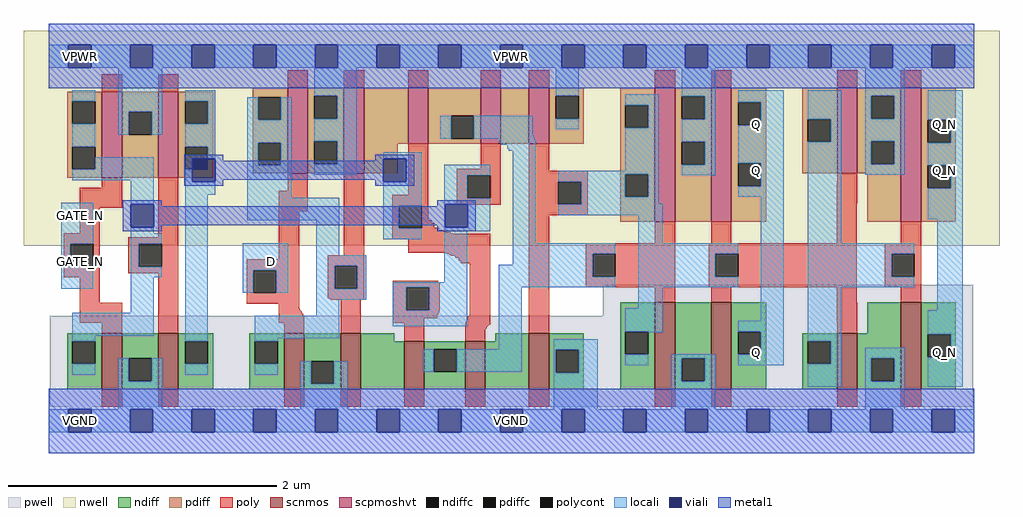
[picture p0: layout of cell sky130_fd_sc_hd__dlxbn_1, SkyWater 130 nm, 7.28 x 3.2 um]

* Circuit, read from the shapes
.subckt sky130_fd_sc_hd__dlxbn_1 D GATE_N VGND VNB VPB VPWR Q Q_N
XM1 VGND GATE_N n1 VNB sky130_fd_pr__nfet_01v8 w=0.42 l=0.15
XM2 n2 n1 VGND VNB sky130_fd_pr__nfet_01v8 w=0.42 l=0.15
XM3 VGND D n3 VNB sky130_fd_pr__nfet_01v8 w=0.42 l=0.15
XM4 n4 n3 VGND VNB sky130_fd_pr__nfet_01v8 w=0.42 l=0.15
XM5 n5 n1 n4 VNB sky130_fd_pr__nfet_01v8 w=0.36 l=0.15
XM6 n6 n2 n5 VNB sky130_fd_pr__nfet_01v8 w=0.36 l=0.15
XM7 VGND n7 n6 VNB sky130_fd_pr__nfet_01v8 w=0.42 l=0.15
XM8 VGND n5 n7 VNB sky130_fd_pr__nfet_01v8 w=0.65 l=0.15
XM9 Q n7 VGND VNB sky130_fd_pr__nfet_01v8 w=0.65 l=0.15
XM10 VGND n7 n8 VNB sky130_fd_pr__nfet_01v8 w=0.42 l=0.15
XM11 Q_N n8 VGND VNB sky130_fd_pr__nfet_01v8 w=0.65 l=0.15
XM12 VPWR GATE_N n1 VPB sky130_fd_pr__pfet_01v8_hvt w=0.64 l=0.15
XM13 n2 n1 VPWR VPB sky130_fd_pr__pfet_01v8_hvt w=0.64 l=0.15
XM14 VPWR D n3 VPB sky130_fd_pr__pfet_01v8_hvt w=0.64 l=0.15
XM15 n9 n3 VPWR VPB sky130_fd_pr__pfet_01v8_hvt w=0.64 l=0.15
XM16 n5 n2 n9 VPB sky130_fd_pr__pfet_01v8_hvt w=0.42 l=0.15
XM17 n10 n1 n5 VPB sky130_fd_pr__pfet_01v8_hvt w=0.42 l=0.15
XM18 VPWR n7 n10 VPB sky130_fd_pr__pfet_01v8_hvt w=0.42 l=0.15
XM19 VPWR n5 n7 VPB sky130_fd_pr__pfet_01v8_hvt w=1 l=0.15
XM20 Q n7 VPWR VPB sky130_fd_pr__pfet_01v8_hvt w=1 l=0.15
XM21 VPWR n7 n8 VPB sky130_fd_pr__pfet_01v8_hvt w=0.64 l=0.15
XM22 Q_N n8 VPWR VPB sky130_fd_pr__pfet_01v8_hvt w=1 l=0.15
.ends

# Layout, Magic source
magic
tech sky130B
magscale 1 2
<< nwell >>
rect -38 261 1418 582
<< pwell >>
rect 826 157 1379 203
rect 1 21 1379 157
rect 30 -17 64 21
<< scnmos >>
rect 79 47 109 131
rect 163 47 193 131
rect 351 47 381 131
rect 435 47 465 131
rect 530 47 560 119
rect 621 47 651 119
rect 716 47 746 131
rect 904 47 934 177
rect 988 47 1018 177
rect 1176 47 1206 131
rect 1271 47 1301 177
<< scpmoshvt >>
rect 79 363 109 491
rect 163 363 193 491
rect 356 369 386 497
rect 440 369 470 497
rect 536 413 566 497
rect 644 413 674 497
rect 716 413 746 497
rect 904 297 934 497
rect 988 297 1018 497
rect 1176 369 1206 497
rect 1271 297 1301 497
<< ndiff >>
rect 27 119 79 131
rect 27 85 35 119
rect 69 85 79 119
rect 27 47 79 85
rect 109 93 163 131
rect 109 59 119 93
rect 153 59 163 93
rect 109 47 163 59
rect 193 119 245 131
rect 193 85 203 119
rect 237 85 245 119
rect 193 47 245 85
rect 299 119 351 131
rect 299 85 307 119
rect 341 85 351 119
rect 299 47 351 85
rect 381 89 435 131
rect 381 55 391 89
rect 425 55 435 89
rect 381 47 435 55
rect 465 119 515 131
rect 852 133 904 177
rect 666 119 716 131
rect 465 47 530 119
rect 560 107 621 119
rect 560 73 574 107
rect 608 73 621 107
rect 560 47 621 73
rect 651 47 716 119
rect 746 106 798 131
rect 746 72 756 106
rect 790 72 798 106
rect 746 47 798 72
rect 852 99 860 133
rect 894 99 904 133
rect 852 47 904 99
rect 934 93 988 177
rect 934 59 944 93
rect 978 59 988 93
rect 934 47 988 59
rect 1018 133 1070 177
rect 1018 99 1028 133
rect 1062 99 1070 133
rect 1221 131 1271 177
rect 1018 47 1070 99
rect 1124 119 1176 131
rect 1124 85 1132 119
rect 1166 85 1176 119
rect 1124 47 1176 85
rect 1206 93 1271 131
rect 1206 59 1227 93
rect 1261 59 1271 93
rect 1206 47 1271 59
rect 1301 129 1353 177
rect 1301 95 1311 129
rect 1345 95 1353 129
rect 1301 47 1353 95
<< pdiff >>
rect 27 477 79 491
rect 27 443 35 477
rect 69 443 79 477
rect 27 409 79 443
rect 27 375 35 409
rect 69 375 79 409
rect 27 363 79 375
rect 109 461 163 491
rect 109 427 119 461
rect 153 427 163 461
rect 109 363 163 427
rect 193 477 245 491
rect 193 443 203 477
rect 237 443 245 477
rect 193 409 245 443
rect 193 375 203 409
rect 237 375 245 409
rect 193 363 245 375
rect 304 483 356 497
rect 304 449 312 483
rect 346 449 356 483
rect 304 415 356 449
rect 304 381 312 415
rect 346 381 356 415
rect 304 369 356 381
rect 386 485 440 497
rect 386 451 396 485
rect 430 451 440 485
rect 386 417 440 451
rect 386 383 396 417
rect 430 383 440 417
rect 386 369 440 383
rect 470 413 536 497
rect 566 455 644 497
rect 566 421 600 455
rect 634 421 644 455
rect 566 413 644 421
rect 674 413 716 497
rect 746 485 798 497
rect 746 451 756 485
rect 790 451 798 485
rect 746 413 798 451
rect 852 471 904 497
rect 852 437 860 471
rect 894 437 904 471
rect 470 369 520 413
rect 852 368 904 437
rect 852 334 860 368
rect 894 334 904 368
rect 852 297 904 334
rect 934 484 988 497
rect 934 450 944 484
rect 978 450 988 484
rect 934 416 988 450
rect 934 382 944 416
rect 978 382 988 416
rect 934 297 988 382
rect 1018 475 1070 497
rect 1018 441 1028 475
rect 1062 441 1070 475
rect 1018 384 1070 441
rect 1018 350 1028 384
rect 1062 350 1070 384
rect 1124 450 1176 497
rect 1124 416 1132 450
rect 1166 416 1176 450
rect 1124 369 1176 416
rect 1206 485 1271 497
rect 1206 451 1227 485
rect 1261 451 1271 485
rect 1206 417 1271 451
rect 1206 383 1227 417
rect 1261 383 1271 417
rect 1206 369 1271 383
rect 1018 297 1070 350
rect 1221 297 1271 369
rect 1301 449 1353 497
rect 1301 415 1311 449
rect 1345 415 1353 449
rect 1301 381 1353 415
rect 1301 347 1311 381
rect 1345 347 1353 381
rect 1301 297 1353 347
<< ndiffc >>
rect 35 85 69 119
rect 119 59 153 93
rect 203 85 237 119
rect 307 85 341 119
rect 391 55 425 89
rect 574 73 608 107
rect 756 72 790 106
rect 860 99 894 133
rect 944 59 978 93
rect 1028 99 1062 133
rect 1132 85 1166 119
rect 1227 59 1261 93
rect 1311 95 1345 129
<< pdiffc >>
rect 35 443 69 477
rect 35 375 69 409
rect 119 427 153 461
rect 203 443 237 477
rect 203 375 237 409
rect 312 449 346 483
rect 312 381 346 415
rect 396 451 430 485
rect 396 383 430 417
rect 600 421 634 455
rect 756 451 790 485
rect 860 437 894 471
rect 860 334 894 368
rect 944 450 978 484
rect 944 382 978 416
rect 1028 441 1062 475
rect 1028 350 1062 384
rect 1132 416 1166 450
rect 1227 451 1261 485
rect 1227 383 1261 417
rect 1311 415 1345 449
rect 1311 347 1345 381
<< poly >>
rect 79 491 109 517
rect 163 491 193 517
rect 356 497 386 523
rect 440 497 470 523
rect 536 497 566 523
rect 644 497 674 523
rect 716 497 746 523
rect 904 497 934 523
rect 988 497 1018 523
rect 1176 497 1206 523
rect 1271 497 1301 523
rect 79 348 109 363
rect 46 318 109 348
rect 46 280 76 318
rect 22 264 76 280
rect 163 274 193 363
rect 356 343 386 369
rect 22 230 32 264
rect 66 230 76 264
rect 22 214 76 230
rect 118 264 193 274
rect 118 230 134 264
rect 168 230 193 264
rect 343 313 386 343
rect 343 241 373 313
rect 440 247 470 369
rect 536 337 566 413
rect 644 376 674 413
rect 512 321 566 337
rect 608 366 674 376
rect 608 332 624 366
rect 658 332 674 366
rect 608 325 674 332
rect 609 323 674 325
rect 610 322 674 323
rect 716 373 746 413
rect 716 357 804 373
rect 716 323 760 357
rect 794 323 804 357
rect 512 287 522 321
rect 556 299 566 321
rect 716 307 804 323
rect 556 295 570 299
rect 556 288 575 295
rect 556 287 581 288
rect 512 284 581 287
rect 512 283 588 284
rect 512 282 590 283
rect 512 281 592 282
rect 512 280 599 281
rect 512 279 602 280
rect 512 271 658 279
rect 536 251 658 271
rect 591 250 658 251
rect 594 249 658 250
rect 597 248 658 249
rect 599 247 658 248
rect 118 220 193 230
rect 46 176 76 214
rect 46 146 109 176
rect 79 131 109 146
rect 163 131 193 220
rect 295 225 373 241
rect 295 191 305 225
rect 339 191 373 225
rect 295 175 373 191
rect 416 231 470 247
rect 601 246 658 247
rect 606 243 658 246
rect 611 239 658 243
rect 614 235 658 239
rect 416 197 426 231
rect 460 197 470 231
rect 416 183 470 197
rect 418 182 470 183
rect 420 181 470 182
rect 513 207 581 209
rect 513 205 582 207
rect 513 199 583 205
rect 343 167 373 175
rect 343 166 374 167
rect 343 164 375 166
rect 343 163 376 164
rect 343 161 377 163
rect 343 160 378 161
rect 343 157 379 160
rect 343 146 381 157
rect 351 131 381 146
rect 435 131 465 181
rect 513 165 533 199
rect 567 165 583 199
rect 513 164 583 165
rect 513 161 582 164
rect 513 158 581 161
rect 513 153 579 158
rect 628 157 658 235
rect 627 156 658 157
rect 625 153 658 156
rect 513 146 560 153
rect 624 151 658 153
rect 623 148 658 151
rect 530 119 560 146
rect 622 145 658 148
rect 621 144 658 145
rect 621 143 657 144
rect 621 142 655 143
rect 621 140 654 142
rect 621 139 653 140
rect 621 137 652 139
rect 621 119 651 137
rect 716 131 746 307
rect 1176 354 1206 369
rect 1175 324 1206 354
rect 904 265 934 297
rect 988 265 1018 297
rect 1175 265 1205 324
rect 1271 265 1301 297
rect 801 249 934 265
rect 801 215 811 249
rect 845 215 934 249
rect 801 199 934 215
rect 984 249 1205 265
rect 984 215 994 249
rect 1028 215 1205 249
rect 984 199 1205 215
rect 1247 249 1301 265
rect 1247 215 1257 249
rect 1291 215 1301 249
rect 1247 199 1301 215
rect 904 177 934 199
rect 988 177 1018 199
rect 1175 176 1205 199
rect 1271 177 1301 199
rect 1175 146 1206 176
rect 1176 131 1206 146
rect 79 21 109 47
rect 163 21 193 47
rect 351 21 381 47
rect 435 21 465 47
rect 530 21 560 47
rect 621 21 651 47
rect 716 21 746 47
rect 904 21 934 47
rect 988 21 1018 47
rect 1176 21 1206 47
rect 1271 21 1301 47
<< polycont >>
rect 32 230 66 264
rect 134 230 168 264
rect 624 332 658 366
rect 760 323 794 357
rect 522 287 556 321
rect 305 191 339 225
rect 426 197 460 231
rect 533 165 567 199
rect 811 215 845 249
rect 994 215 1028 249
rect 1257 215 1291 249
<< locali >>
rect 0 527 29 561
rect 63 527 121 561
rect 155 527 213 561
rect 247 527 305 561
rect 339 527 397 561
rect 431 527 489 561
rect 523 527 581 561
rect 615 527 673 561
rect 707 527 765 561
rect 799 527 857 561
rect 891 527 949 561
rect 983 527 1041 561
rect 1075 527 1133 561
rect 1167 527 1225 561
rect 1259 527 1317 561
rect 1351 527 1380 561
rect 35 477 69 493
rect 35 409 69 443
rect 103 461 169 527
rect 103 427 119 461
rect 153 427 169 461
rect 203 477 248 493
rect 396 485 459 527
rect 237 443 248 477
rect 203 409 248 443
rect 69 375 156 393
rect 35 359 156 375
rect 18 264 66 325
rect 18 230 32 264
rect 18 197 66 230
rect 122 323 156 359
rect 122 280 156 289
rect 237 391 248 409
rect 203 357 214 375
rect 203 337 248 357
rect 296 449 312 483
rect 346 449 362 483
rect 296 415 362 449
rect 296 381 312 415
rect 346 381 362 415
rect 122 264 168 280
rect 122 230 134 264
rect 122 214 168 230
rect 122 161 156 214
rect 35 127 156 161
rect 35 119 69 127
rect 203 119 237 337
rect 296 333 362 381
rect 430 451 459 485
rect 756 485 790 527
rect 396 417 459 451
rect 584 421 600 455
rect 634 426 722 455
rect 756 435 790 451
rect 860 471 910 487
rect 894 437 910 471
rect 634 423 723 426
rect 634 421 724 423
rect 430 383 459 417
rect 672 418 725 421
rect 672 415 726 418
rect 675 412 726 415
rect 684 406 726 412
rect 686 403 726 406
rect 396 367 459 383
rect 499 391 556 401
rect 533 357 556 391
rect 296 299 433 333
rect 289 225 357 265
rect 289 191 305 225
rect 339 191 357 225
rect 399 247 433 299
rect 499 321 556 357
rect 499 287 522 321
rect 499 271 556 287
rect 590 366 658 382
rect 590 332 624 366
rect 590 323 658 332
rect 590 289 591 323
rect 625 289 658 323
rect 590 283 658 289
rect 399 231 473 247
rect 399 197 426 231
rect 460 197 473 231
rect 590 207 624 283
rect 692 265 726 403
rect 860 373 910 437
rect 760 368 910 373
rect 760 357 860 368
rect 794 334 860 357
rect 894 334 910 368
rect 944 484 994 527
rect 978 450 994 484
rect 944 416 994 450
rect 978 382 994 416
rect 944 366 994 382
rect 1028 475 1096 493
rect 1062 441 1096 475
rect 1028 384 1096 441
rect 1062 350 1096 384
rect 1028 334 1096 350
rect 794 324 910 334
rect 794 323 916 324
rect 760 307 916 323
rect 879 265 916 307
rect 692 249 845 265
rect 692 233 811 249
rect 399 181 473 197
rect 513 199 624 207
rect 399 157 433 181
rect 35 69 69 85
rect 103 59 119 93
rect 153 59 169 93
rect 203 69 237 85
rect 307 123 433 157
rect 513 165 533 199
rect 567 165 624 199
rect 513 141 624 165
rect 671 215 811 233
rect 671 199 845 215
rect 879 249 1028 265
rect 879 215 994 249
rect 879 199 1028 215
rect 307 119 341 123
rect 671 107 705 199
rect 879 168 916 199
rect 860 133 916 168
rect 1062 149 1096 334
rect 307 69 341 85
rect 103 17 169 59
rect 375 55 391 89
rect 425 55 446 89
rect 558 73 574 107
rect 608 73 705 107
rect 753 106 819 122
rect 375 17 446 55
rect 753 72 756 106
rect 790 72 819 106
rect 894 132 916 133
rect 1028 133 1096 149
rect 1062 99 1096 133
rect 860 83 894 99
rect 928 93 994 99
rect 753 17 819 72
rect 928 59 944 93
rect 978 59 994 93
rect 1028 83 1096 99
rect 1132 450 1182 493
rect 1166 416 1182 450
rect 1132 265 1182 416
rect 1218 485 1277 527
rect 1218 451 1227 485
rect 1261 451 1277 485
rect 1218 417 1277 451
rect 1218 383 1227 417
rect 1261 383 1277 417
rect 1218 367 1277 383
rect 1311 449 1363 493
rect 1345 415 1363 449
rect 1311 381 1363 415
rect 1345 347 1363 381
rect 1311 301 1363 347
rect 1132 249 1291 265
rect 1132 215 1257 249
rect 1132 199 1291 215
rect 1132 119 1182 199
rect 1325 165 1363 301
rect 1166 85 1182 119
rect 1311 129 1363 165
rect 928 17 994 59
rect 1132 51 1182 85
rect 1218 93 1277 109
rect 1218 59 1227 93
rect 1261 59 1277 93
rect 1218 17 1277 59
rect 1345 95 1363 129
rect 1311 51 1363 95
rect 0 -17 29 17
rect 63 -17 121 17
rect 155 -17 213 17
rect 247 -17 305 17
rect 339 -17 397 17
rect 431 -17 489 17
rect 523 -17 581 17
rect 615 -17 673 17
rect 707 -17 765 17
rect 799 -17 857 17
rect 891 -17 949 17
rect 983 -17 1041 17
rect 1075 -17 1133 17
rect 1167 -17 1225 17
rect 1259 -17 1317 17
rect 1351 -17 1380 17
<< viali >>
rect 29 527 63 561
rect 121 527 155 561
rect 213 527 247 561
rect 305 527 339 561
rect 397 527 431 561
rect 489 527 523 561
rect 581 527 615 561
rect 673 527 707 561
rect 765 527 799 561
rect 857 527 891 561
rect 949 527 983 561
rect 1041 527 1075 561
rect 1133 527 1167 561
rect 1225 527 1259 561
rect 1317 527 1351 561
rect 122 289 156 323
rect 214 375 237 391
rect 237 375 248 391
rect 214 357 248 375
rect 499 357 533 391
rect 591 289 625 323
rect 29 -17 63 17
rect 121 -17 155 17
rect 213 -17 247 17
rect 305 -17 339 17
rect 397 -17 431 17
rect 489 -17 523 17
rect 581 -17 615 17
rect 673 -17 707 17
rect 765 -17 799 17
rect 857 -17 891 17
rect 949 -17 983 17
rect 1041 -17 1075 17
rect 1133 -17 1167 17
rect 1225 -17 1259 17
rect 1317 -17 1351 17
<< metal1 >>
rect 0 561 1380 592
rect 0 527 29 561
rect 63 527 121 561
rect 155 527 213 561
rect 247 527 305 561
rect 339 527 397 561
rect 431 527 489 561
rect 523 527 581 561
rect 615 527 673 561
rect 707 527 765 561
rect 799 527 857 561
rect 891 527 949 561
rect 983 527 1041 561
rect 1075 527 1133 561
rect 1167 527 1225 561
rect 1259 527 1317 561
rect 1351 527 1380 561
rect 0 496 1380 527
rect 202 391 260 397
rect 202 357 214 391
rect 248 388 260 391
rect 487 391 545 397
rect 487 388 499 391
rect 248 360 499 388
rect 248 357 260 360
rect 202 351 260 357
rect 487 357 499 360
rect 533 357 545 391
rect 487 351 545 357
rect 110 323 168 329
rect 110 289 122 323
rect 156 320 168 323
rect 579 323 637 329
rect 579 320 591 323
rect 156 292 591 320
rect 156 289 168 292
rect 110 283 168 289
rect 579 289 591 292
rect 625 289 637 323
rect 579 283 637 289
rect 0 17 1380 48
rect 0 -17 29 17
rect 63 -17 121 17
rect 155 -17 213 17
rect 247 -17 305 17
rect 339 -17 397 17
rect 431 -17 489 17
rect 523 -17 581 17
rect 615 -17 673 17
rect 707 -17 765 17
rect 799 -17 857 17
rect 891 -17 949 17
rect 983 -17 1041 17
rect 1075 -17 1133 17
rect 1167 -17 1225 17
rect 1259 -17 1317 17
rect 1351 -17 1380 17
rect 0 -48 1380 -17
<< labels >>
flabel locali s 1319 85 1353 119 0 FreeSans 200 0 0 0 Q_N
port 8 nsew signal output
flabel locali s 315 221 349 255 0 FreeSans 200 0 0 0 D
port 1 nsew signal input
flabel locali s 30 221 64 255 0 FreeSans 200 0 0 0 GATE_N
port 2 nsew clock input
flabel locali s 1039 357 1073 391 0 FreeSans 200 0 0 0 Q
port 7 nsew signal output
flabel locali s 30 289 64 323 0 FreeSans 200 0 0 0 GATE_N
port 2 nsew clock input
flabel locali s 1039 425 1073 459 0 FreeSans 200 0 0 0 Q
port 7 nsew signal output
flabel locali s 1039 85 1073 119 0 FreeSans 200 0 0 0 Q
port 7 nsew signal output
flabel locali s 1319 357 1353 391 0 FreeSans 200 0 0 0 Q_N
port 8 nsew signal output
flabel locali s 1319 425 1353 459 0 FreeSans 200 0 0 0 Q_N
port 8 nsew signal output
flabel metal1 s 30 -17 64 17 0 FreeSans 200 0 0 0 VGND
port 3 nsew ground bidirectional abutment
flabel metal1 s 30 527 64 561 0 FreeSans 200 0 0 0 VPWR
port 6 nsew power bidirectional abutment
flabel metal1 s 47 544 47 544 0 FreeSans 200 0 0 0 VPWR
flabel metal1 s 47 0 47 0 0 FreeSans 200 0 0 0 VGND
flabel nwell s 30 527 64 561 0 FreeSans 200 0 0 0 VPB
port 5 nsew power bidirectional
flabel nwell s 47 544 47 544 0 FreeSans 200 0 0 0 VPB
flabel nwell s 47 544 47 544 0 FreeSans 200 0 0 0 VPB
flabel pwell s 30 -17 64 17 0 FreeSans 200 0 0 0 VNB
port 4 nsew ground bidirectional
flabel pwell s 47 0 47 0 0 FreeSans 200 0 0 0 VNB
flabel pwell s 47 0 47 0 0 FreeSans 200 0 0 0 VNB
rlabel comment s 0 0 0 0 4 dlxbn_1
rlabel metal1 s 0 -48 1380 48 1 VGND
port 3 nsew ground bidirectional abutment
rlabel metal1 s 0 496 1380 592 1 VPWR
port 6 nsew power bidirectional abutment
<< properties >>
string FIXED_BBOX 0 0 1380 544
string GDS_END 2808568
string GDS_FILE $PDKPATH/libs.ref/sky130_fd_sc_hd/gds/sky130_fd_sc_hd.gds
string GDS_START 2795566
string LEFclass CORE
string LEFsite unithd
string LEFsymmetry X Y R90
<< end >>
